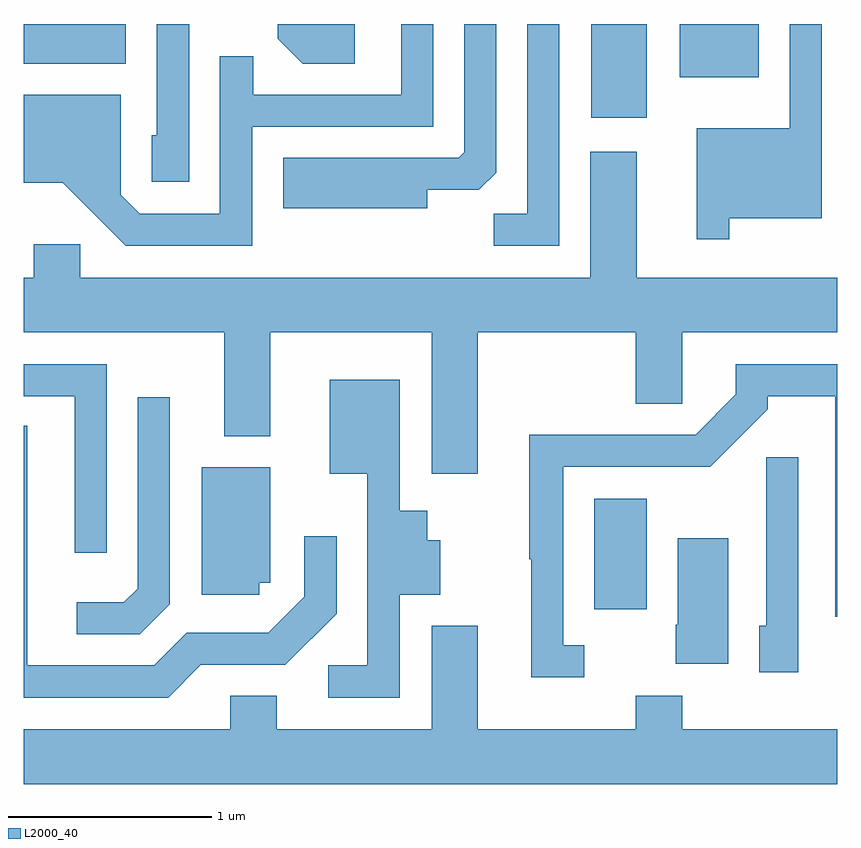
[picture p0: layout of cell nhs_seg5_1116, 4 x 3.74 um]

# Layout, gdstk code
import gdstk
lib = gdstk.Library(unit=1e-6, precision=1e-09)
def R(c, l, rs):  # rectangles x0, y0, x1, y1
    for r in rs: c.add(gdstk.rectangle(r[:2], r[2:], *l))
def P(c, l, *ps):  # polygons
    for p in ps: c.add(gdstk.Polygon(p, *l))
L2000_40 = (2000, 40)

nhs_seg5_1116 = lib.new_cell('nhs_seg5_1116')
R(nhs_seg5_1116, L2000_40, [(220.416,1473.196,220.674,1473.739), (220.401,1475.611,220.674,1476.072), (220.836,1475.811,221.224,1476.072), (217.611,1475.876,218.114,1476.072)])
P(nhs_seg5_1116, L2000_40, [(221.079,1475.116),(221.534,1475.116),(221.534,1476.072),(221.376,1476.072),(221.376,1475.559),(220.921,1475.559),(220.921,1475.013),(221.079,1475.013)],
  [(220.244,1476.072),(220.086,1476.072),(220.086,1475.139),(219.923,1475.139),(219.923,1474.981),(220.244,1474.981)],
  [(219.594,1475.256),(219.849,1475.256),(219.934,1475.342),(219.934,1476.072),(219.776,1476.072),(219.776,1475.442),(219.749,1475.414),(218.886,1475.414),(218.886,1475.166),(219.594,1475.166)],
  [(218.734,1475.566),(219.624,1475.566),(219.624,1476.072),(219.466,1476.072),(219.466,1475.724),(218.739,1475.724),(218.739,1475.913),(218.576,1475.913),(218.576,1475.139),(218.182,1475.139),(218.089,1475.232),(218.089,1475.724),(217.611,1475.724),(217.611,1475.291),(217.804,1475.291),(218.114,1474.981),(218.734,1474.981)],
  [(219.239,1476.072),(218.861,1476.072),(218.861,1475.999),(218.984,1475.876),(219.239,1475.876)],
  [(218.424,1476.072),(218.266,1476.072),(218.266,1475.524),(218.241,1475.524),(218.241,1475.296),(218.424,1475.296)],
  [(219.844,1474.556),(220.621,1474.556),(220.621,1474.206),(220.849,1474.206),(220.849,1474.556),(221.611,1474.556),(221.611,1474.824),(220.624,1474.824),(220.624,1475.444),(220.396,1475.444),(220.396,1474.824),(217.889,1474.824),(217.889,1474.989),(217.661,1474.989),(217.661,1474.824),(217.611,1474.824),(217.611,1474.556),(218.596,1474.556),(218.596,1474.046),(218.824,1474.046),(218.824,1474.556),(219.616,1474.556),(219.616,1473.861),(219.844,1473.861)],
  [(220.368,1473.019),(220.264,1473.019),(220.264,1473.896),(220.987,1473.896),(221.269,1474.179),(221.269,1474.241),(221.601,1474.241),(221.601,1473.158),(221.611,1473.158),(221.611,1474.399),(221.111,1474.399),(221.111,1474.252),(220.914,1474.054),(220.096,1474.054),(220.096,1473.44),(220.106,1473.44),(220.106,1472.861),(220.368,1472.861)],
  [(218.019,1474.399),(217.611,1474.399),(217.611,1474.241),(217.861,1474.241),(217.861,1473.473),(218.019,1473.473)],
  [(219.459,1473.266),(219.659,1473.266),(219.659,1473.534),(219.594,1473.534),(219.594,1473.679),(219.459,1473.679),(219.459,1474.324),(219.116,1474.324),(219.116,1473.861),(219.301,1473.861),(219.301,1472.919),(219.108,1472.919),(219.108,1472.761),(219.459,1472.761)],
  [(218.329,1473.219),(218.329,1474.238),(218.171,1474.238),(218.171,1473.297),(218.104,1473.229),(217.873,1473.229),(217.873,1473.071),(218.182,1473.071)],
  [(218.482,1472.921),(218.897,1472.921),(219.149,1473.174),(219.149,1473.553),(218.991,1473.553),(218.991,1473.257),(218.814,1473.079),(218.414,1473.079),(218.254,1472.919),(217.629,1472.919),(217.629,1474.098),(217.611,1474.098),(217.611,1472.761),(218.322,1472.761)],
  [(221.419,1473.943),(221.261,1473.943),(221.261,1473.114),(221.226,1473.114),(221.226,1472.886),(221.419,1472.886)],
  [(218.769,1473.326),(218.824,1473.326),(218.824,1473.894),(218.486,1473.894),(218.486,1473.266),(218.769,1473.266)],
  [(221.074,1473.544),(220.826,1473.544),(220.826,1473.12),(220.816,1473.12),(220.816,1472.926),(221.074,1472.926)],
  [(221.611,1472.604),(220.849,1472.604),(220.849,1472.769),(220.621,1472.769),(220.621,1472.604),(219.844,1472.604),(219.844,1473.114),(219.616,1473.114),(219.616,1472.604),(218.854,1472.604),(218.854,1472.769),(218.626,1472.769),(218.626,1472.604),(217.611,1472.604),(217.611,1472.336),(221.611,1472.336)])

lib.write_gds('nhs_seg5_1116.gds')
